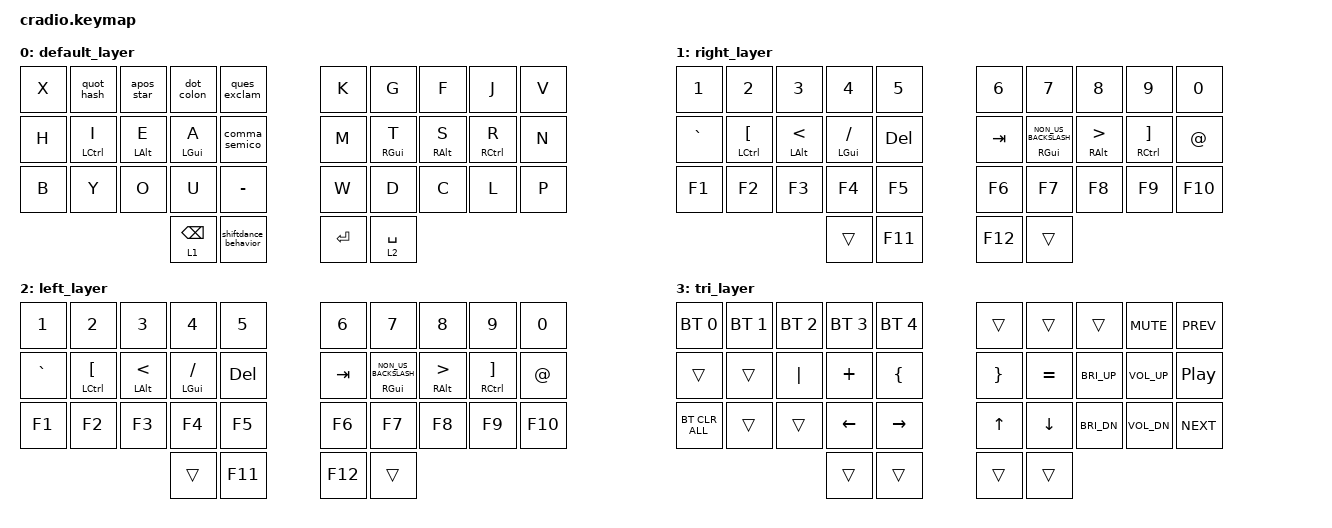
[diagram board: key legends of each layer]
// Copyright (c) 2022 The ZMK Contributors
// SPDX-License-Identifier: MIT

#define ZMK_MOUSE_DEFAULT_MOVE_VAL 2500  // 600
#define ZMK_MOUSE_DEFAULT_SCRL_VAL 20    // 10

#include <dt-bindings/zmk/mouse.h>
#include <behaviors.dtsi>
#include <dt-bindings/zmk/bt.h>
#include <dt-bindings/zmk/keys.h>

#define MAC 0
#define RIG 1
#define LEF 2
#define TRI 4
#define U_MS_U &mmv MOVE_UP
#define U_MS_D &mmv MOVE_DOWN
#define U_MS_L &mmv MOVE_LEFT
#define U_MS_R &mmv MOVE_RIGHT
#define U_WH_U &msc SCRL_UP
#define U_WH_D &msc SCRL_DOWN
#define U_WH_L &msc SCRL_LEFT
#define U_WH_R &msc SCRL_RIGHT

&mt {
    flavor = "balanced";
    quick-tap-ms = <150>;//for double tap backspace to repeat
    tapping-term-ms = <200>;
    require-prior-idle-ms = <120>;//higher value makes hold harder to trigger, cause it forces a tap instead if within this time. if correct with backspace, we may want a shift/mod so we set this to lowish
};

&lt {
    tapping-term-ms = <275>;
    quick_tap_ms = <200>;
};

&sk {
    release-after-ms = <2000>;
    quick-release;
};

/ {
    chosen { zmk,charmap = &charmap_us; };

    behaviors {
        ht: hold_tap {
            label = "hold_tap";
            compatible = "zmk,behavior-hold-tap";
            #binding-cells = <2>;
            flavor = "tap-preferred";
            tapping-term-ms = <275>;
            quick-tap-ms = <200>;
            global-quick-tap;
            bindings = <&kp>, <&kp>;
        };

        ml: home-row-mods-left {
            compatible = "zmk,behavior-hold-tap";
            bindings = <&kp>, <&kp>;

            #binding-cells = <2>;
            tapping-term-ms = <280>;
            quick-tap-ms = <200>;
            require-prior-idle-ms = <175>;
            flavor = "balanced";
            hold-trigger-key-positions = <30 31 32 33 5 6 7 8 9 15 16 17 18 19 25 26 27 28 29>;
            hold-trigger-on-release;
        };

        mr: home-row-mods-right {
            compatible = "zmk,behavior-hold-tap";
            bindings = <&kp>, <&kp>;

            #binding-cells = <2>;
            tapping-term-ms = <280>;
            quick-tap-ms = <200>;
            require-prior-idle-ms = <175>;
            flavor = "balanced";
            hold-trigger-key-positions = <30 31 32 33 0 1 2 3 4 10 11 12 13 14 20 21 22 23 24>;
            hold-trigger-on-release;
        };

        slash_star: slash_star {
            compatible = "zmk,behavior-mod-morph";
            label = "SLASH_STAR";
            bindings = <&kp SLASH>, <&kp ASTERISK>;

            #binding-cells = <0>;
            mods = <(MOD_LSFT|MOD_RSFT)>;
        };

        hash_amp: hash_amp {
            compatible = "zmk,behavior-mod-morph";
            label = "HASH_AMP";
            bindings = <&kp HASH>, <&kp AT_SIGN>;

            #binding-cells = <0>;
            mods = <(MOD_LSFT|MOD_RSFT)>;
        };

        comma_semico: comma_semico {
            compatible = "zmk,behavior-mod-morph";
            label = "COMMA_SEMICO";
            bindings = <&kp COMMA>, <&kp SEMICOLON>;

            #binding-cells = <0>;
            mods = <(MOD_LSFT|MOD_RSFT)>;
        };

        dot_colon: dot_colon {
            compatible = "zmk,behavior-mod-morph";
            label = "DOT_COLON";
            bindings = <&kp DOT>, <&kp COLON>;

            #binding-cells = <0>;
            mods = <(MOD_LSFT|MOD_RSFT)>;
        };

        apos_ques: apos_ques {
            compatible = "zmk,behavior-mod-morph";
            label = "APOS_QUES";
            bindings = <&kp APOS>, <&kp QMARK>;

            #binding-cells = <0>;
            mods = <(MOD_LSFT|MOD_RSFT)>;
        };

        quot_excl: quot_excl {
            compatible = "zmk,behavior-mod-morph";
            label = "QUOT_EXCL";
            bindings = <&kp DOUBLE_QUOTES>, <&kp EXCL>;

            #binding-cells = <0>;
            mods = <(MOD_LSFT|MOD_RSFT)>;
        };

        minus_plus: minus_plus {
            compatible = "zmk,behavior-mod-morph";
            label = "MINUS_PLUS";
            bindings = <&kp MINUS>, <&kp PLUS>;

            #binding-cells = <0>;
            mods = <(MOD_LSFT|MOD_RSFT)>;
        };

        ques_exclam: ques_exclam {
            compatible = "zmk,behavior-mod-morph";
            label = "QUES_EXCLAM";
            bindings = <&kp QMARK>, <&kp EXCL>;

            #binding-cells = <0>;
            mods = <(MOD_LSFT|MOD_RSFT)>;
        };

        apos_star: apos_star {
            compatible = "zmk,behavior-mod-morph";
            label = "APOS_STAR";
            bindings = <&kp APOSTROPHE>, <&kp STAR>;

            #binding-cells = <0>;
            mods = <(MOD_LSFT|MOD_RSFT)>;
        };

        quot_hash: quot_hash {
            compatible = "zmk,behavior-mod-morph";
            label = "QUOT_HASH";
            bindings = <&kp DOUBLE_QUOTES>, <&kp HASH>;

            #binding-cells = <0>;
            mods = <(MOD_LSFT|MOD_RSFT)>;
        };

        shiftdance_behavior: shiftdance_behavior {
            compatible = "zmk,behavior-tap-dance";
            label = "SHIFTDANCE_BEHAVIOR";
            #binding-cells = <0>;
            bindings = <&sk LSHFT>, <&caps_word>;

            tapping-term-ms = <250>;
        };

        comma_ques: comma_ques {
            compatible = "zmk,behavior-mod-morph";
            label = "COMMA_QUES";
            bindings = <&kp COMMA>, <&kp QUESTION>;

            #binding-cells = <0>;
            mods = <(MOD_LSFT|MOD_RSFT)>;
        };

        dot_exclam: dot_exclam {
            compatible = "zmk,behavior-mod-morph";
            label = "DOT_EXCLAM";
            bindings = <&kp DOT>, <&kp EXCL>;

            #binding-cells = <0>;
            mods = <(MOD_LSFT|MOD_RSFT)>;
        };

        comma_dance: comma_dance {
            compatible = "zmk,behavior-tap-dance";
            label = "COMMA_DANCE";
            #binding-cells = <0>;
            bindings = <&comma_star>, <&kp SEMICOLON>;
        };

        dot_dance: dot_dance {
            compatible = "zmk,behavior-tap-dance";
            label = "DOT_DANCE";
            #binding-cells = <0>;
            bindings = <&dot_hash>, <&kp COLON>;
        };

        slash_undersc: slash_undersc {
            compatible = "zmk,behavior-mod-morph";
            label = "SLASH_UNDERSC";
            bindings = <&kp SLASH>, <&kp UNDERSCORE>;

            #binding-cells = <0>;
            mods = <(MOD_LSFT|MOD_RSFT)>;
        };

        comma_star: comma_star {
            compatible = "zmk,behavior-mod-morph";
            label = "COMMA_STAR";
            bindings = <&kp COMMA>, <&kp STAR>;

            #binding-cells = <0>;
            mods = <(MOD_LSFT|MOD_RSFT)>;
        };

        dot_hash: dot_hash {
            compatible = "zmk,behavior-mod-morph";
            label = "DOT_HASH";
            bindings = <&kp DOT>, <&kp HASH>;

            #binding-cells = <0>;
            mods = <(MOD_LSFT|MOD_RSFT)>;
        };

        apos_lpara: apos_lpara {
            compatible = "zmk,behavior-mod-morph";
            label = "APOS_LPARA";
            bindings = <&kp APOS>, <&kp LEFT_PARENTHESIS>;

            #binding-cells = <0>;
            mods = <(MOD_LSFT|MOD_RSFT)>;
        };

        ques_rpara: ques_rpara {
            compatible = "zmk,behavior-mod-morph";
            label = "QUES_RPARA";
            bindings = <&kp DOUBLE_QUOTES>, <&kp RIGHT_PARENTHESIS>;

            #binding-cells = <0>;
            mods = <(MOD_LSFT|MOD_RSFT)>;
        };

        dash_dance: dash_dance {
            compatible = "zmk,behavior-tap-dance";
            label = "DASH_DANCE";
            #binding-cells = <0>;
            bindings = <&kp MINUS>, <&kp PLUS>;
        };

        ques_dance: ques_dance {
            compatible = "zmk,behavior-tap-dance";
            label = "QUES_DANCE";
            #binding-cells = <0>;
            bindings = <&ques_exclam>, <&kp SLASH>;
        };

        mmv {
            acceleration-exponent = <1>;      // 1
            time-to-max-speed-ms = <300>;    // 40
            delay-ms = <0>;                   // 0
        };

        msc {
            acceleration-exponent = <0>;      // 0
            time-to-max-speed-ms = <40>;      // 500
            delay-ms = <0>;                   // 10
        };
    };

    conditional_layers {
        compatible = "zmk,conditional-layers";

        tri_layer {
            if-layers = <1 2>;
            then-layer = <3>;
        };
    };

    combos {
        compatible = "zmk,combos";

        combo_q {
            bindings = <&kp Z>;
            key-positions = <28 27>;
            layers = <0>;
        };

        combo_z {
            bindings = <&kp Q>;
            key-positions = <29 28>;
            layers = <0>;
        };

        esc_combo {
            bindings = <&kp ESC>;
            key-positions = <20 21>;
            layers = <0>;
        };
    };

    //    macros {
    //        qu_q: qu_q {
    //            compatible = "zmk,behavior-macro";
    //            #binding-cells = <0>;
    //            bindings = <&none &kp Q &kp U &kp>, <&macro_press>;
    //            label = "QU_Q";
    //        };
    //    };

    keymap {
        compatible = "zmk,keymap";

        default_layer {
            bindings = <
&kp X  &quot_hash   &apos_star  &dot_colon       &ques_exclam            &kp K      &kp G        &kp F       &kp J        &kp V
&kp H  &ml LCTRL I  &ml LALT E  &ml LGUI A       &comma_semico           &kp M      &mr RGUI T   &mr RALT S  &mr RCTRL R  &kp N
&kp B  &kp Y        &kp O       &kp U            &kp MINUS               &kp W      &kp D        &kp C       &kp L        &kp P
                                &lt 1 BACKSPACE  &shiftdance_behavior    &kp ENTER  &lt 2 SPACE
            >;
        };

        right_layer {
            bindings = <
&kp NUMBER_1  &kp NUMBER_2            &kp NUMBER_3        &kp NUMBER_4    &kp N5     &kp NUMBER_6  &kp N7                     &kp N8                 &kp N9                   &kp N0
&kp GRAVE     &ml LCTRL LEFT_BRACKET  &ml LALT LESS_THAN  &ml LGUI SLASH  &kp DEL    &kp TAB       &mr RGUI NON_US_BACKSLASH  &mr RALT GREATER_THAN  &ht RCTRL RIGHT_BRACKET  &kp AT_SIGN
&kp F1        &kp F2                  &kp F3              &kp F4          &kp F5     &kp F6        &kp F7                     &kp F8                 &kp F9                   &kp F10
                                                          &trans          &kp F11    &kp F12       &trans
            >;
        };

        left_layer {
            bindings = <
&kp NUMBER_1  &kp NUMBER_2            &kp NUMBER_3        &kp NUMBER_4    &kp N5     &kp NUMBER_6  &kp N7                     &kp N8                 &kp N9                   &kp N0
&kp GRAVE     &ml LCTRL LEFT_BRACKET  &ml LALT LESS_THAN  &ml LGUI SLASH  &kp DEL    &kp TAB       &mr RGUI NON_US_BACKSLASH  &mr RALT GREATER_THAN  &mr RCTRL RIGHT_BRACKET  &kp AT_SIGN
&kp F1        &kp F2                  &kp F3              &kp F4          &kp F5     &kp F6        &kp F7                     &kp F8                 &kp F9                   &kp F10
                                                          &trans          &kp F11    &kp F12       &trans
            >;
        };

        tri_layer {
            bindings = <
&bt BT_SEL 0    &bt BT_SEL 1  &bt BT_SEL 2  &bt BT_SEL 3    &bt BT_SEL 4       &trans        &trans          &trans        &kp C_MUTE    &kp C_PREV
&trans          &trans        &kp PIPE      &kp PLUS        &kp LBRC           &kp RBRC      &kp EQUAL       &kp C_BRI_UP  &kp C_VOL_UP  &kp C_PP
&bt BT_CLR_ALL  &trans        &trans        &kp LEFT_ARROW  &kp RIGHT_ARROW    &kp UP_ARROW  &kp DOWN_ARROW  &kp C_BRI_DN  &kp C_VOL_DN  &kp C_NEXT
                                            &trans          &trans             &trans        &trans
            >;
        };
    };
};
